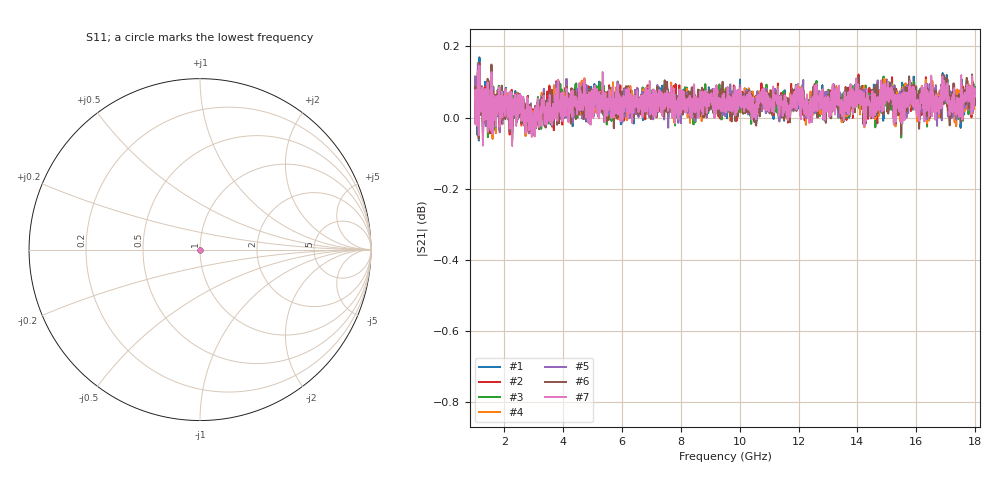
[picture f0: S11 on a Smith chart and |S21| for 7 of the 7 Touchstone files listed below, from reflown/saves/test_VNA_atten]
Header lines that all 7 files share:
#  HZ  S  DB  R  50.00
! Rohde & Schwarz ZVA40 4Ports - Version 4.11 - 1145.1110k42 SN: 100337
! Measurements: S11 S41 S14 S44
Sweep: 1 GHz to 18 GHz
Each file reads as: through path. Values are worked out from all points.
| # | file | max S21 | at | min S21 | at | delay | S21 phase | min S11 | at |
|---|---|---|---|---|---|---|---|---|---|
| 1 | 20251215_thru.s2p | 0.17 dB | 1.15 GHz | -0.1 dB | 2.26 GHz | 72.7 ps | 111 deg at 9.5 GHz | -80.8 dB | 4.8 GHz |
| 2 | 20251215_thru_5dB.s2p | 0.15 dB | 1.15 GHz | -0.1 dB | 2.26 GHz | 72.7 ps | 111 deg at 9.5 GHz | -81.8 dB | 4.39 GHz |
| 3 | 20251215_thru_10dB.s2p | 0.15 dB | 1.1 GHz | -0.1 dB | 2.26 GHz | 72.7 ps | 111 deg at 9.5 GHz | -90.0 dB | 9.39 GHz |
| 4 | 20251215_thru_15dB.s2p | 0.14 dB | 1.15 GHz | -0.1 dB | 1.27 GHz | 72.7 ps | 111 deg at 9.5 GHz | -89.2 dB | 3.06 GHz |
| 5 | 20251215_thru_20dB.s2p | 0.15 dB | 1.1 GHz | -0.1 dB | 2.26 GHz | 72.7 ps | 111 deg at 9.5 GHz | -85.0 dB | 2.77 GHz |
| 6 | 20251215_thru_25dB.s2p | 0.15 dB | 1.56 GHz | -0.1 dB | 2.26 GHz | 72.7 ps | 111 deg at 9.5 GHz | -88.8 dB | 7.57 GHz |
| 7 | 20251215_thru_30dB.s2p | 0.15 dB | 1.15 GHz | -0.1 dB | 2.26 GHz | 72.7 ps | 111 deg at 9.5 GHz | -84.4 dB | 5.21 GHz |
